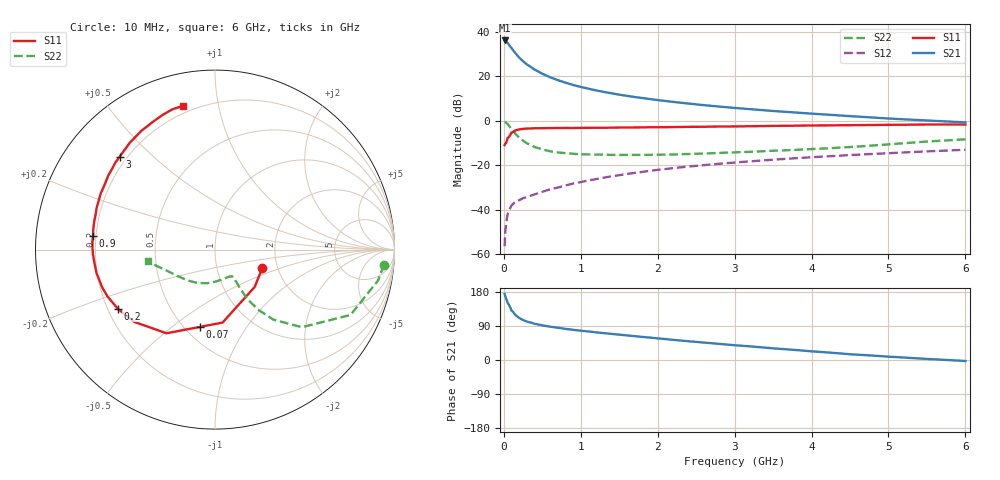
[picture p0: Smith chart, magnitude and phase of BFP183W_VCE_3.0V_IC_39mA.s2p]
! Infineon Technologies  Discrete & RF Semiconductors
! BFP183W
! VCE =  3.0 V,  IC =  39 mA
! Common Emitter S-Parameters:  Jan 2017
# GHz  S  MA  R  50
!  f  S11  S21  S12  S22
! GHz  MAG  ANG  MAG  ANG  MAG  ANG  MAG  ANG
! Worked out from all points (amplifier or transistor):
!   77 points, 10 MHz to 6 GHz, reference 50 ohm
!   highest |S21| = 36.1 dB at 10 MHz (marker M1)
!   |S21| within 3 dB of that: start of sweep to 89.08 MHz
!   unconditionally stable (mu >= 1): 673 MHz to 3.437 GHz
!   at 130 MHz: K = 0.39, MSG = 34.2 dB, |S12| = -37.1 dB
!   at 2.2 GHz: K = 1.08, MAG = 13.2 dB, |S12| = -21.4 dB
!   at 6 GHz: K = 0.87, MSG = 6.1 dB, |S12| = -13.1 dB
!   S11 on the Smith chart (normalised r, x): 10 MHz: 1.66, -0.37; 70 MHz: 0.59, -0.63; 200 MHz: 0.24, -0.26; 900 MHz: 0.19, +0.05; 3 GHz: 0.17, +0.40; 6 GHz: 0.16, +0.79
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0.01  0.2828 -21.3  63.64 174.3  0.0015 86.8  0.9446 -5.1
0.02  0.3037 -43.3  62.27 167.4  0.0034 84.3  0.9242 -10.8
0.05  0.4088 -84.1  55.81 150.6  0.0079 65.8  0.8387 -25.7
0.07  0.4384 -100.9  49.89 143.9  0.0096 60.5  0.756 -31.2
0.1  0.5389 -120.1  42.73 130.6  0.0123 55.3  0.6488 -41.8
0.15  0.6039 -138.2  32.91 118.8  0.015 49.7  0.5078 -50.2
0.2  0.6343 -148.8  26.21 110.9  0.0162 49.7  0.4162 -54.1
0.25  0.6529 -156.4  21.65 105.4  0.018 47.8  0.3533 -56.0
0.3  0.6627 -161.4  18.34 101.4  0.0191 48.3  0.3093 -56.9
0.4  0.673 -168.8  14.06 95.5  0.0219 53.0  0.2556 -57.1
0.5  0.676 -174.0  11.33 91.4  0.025 55.4  0.225 -56.7
0.6  0.6806 -177.8  9.496 88.0  0.0285 57.0  0.2053 -56.6
0.7  0.6827 179.1  8.154 85.1  0.0312 61.4  0.1927 -56.2
0.9  0.6839 173.5  6.353 79.7  0.0384 62.6  0.1796 -57.1
1.1  0.689 168.8  5.224 75.3  0.0451 64.3  0.1741 -58.9
1.5  0.6989 160.9  3.841 66.9  0.0592 64.9  0.1692 -64.9
2.1  0.7131 149.9  2.769 55.2  0.0816 63.8  0.172 -79.4
3  0.7415 135.8  1.93 39.0  0.1142 59.1  0.1936 -104.8
3.1  0.7445 134.4  1.871 37.5  0.1178 58.5  0.1961 -107.6
4.1  0.7801 120.8  1.401 21.5  0.1537 52.1  0.2335 -134.3
5.1  0.8069 110.4  1.094 7.7  0.1887 45.2  0.3011 -158.1
6  0.8205 102.5  0.912 -2.7  0.2215 38.9  0.3794 -170.6
